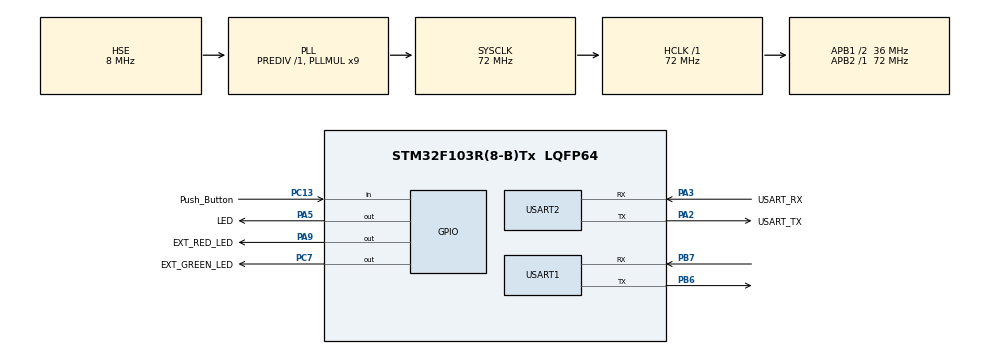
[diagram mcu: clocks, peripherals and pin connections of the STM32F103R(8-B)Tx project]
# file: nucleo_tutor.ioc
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Mcu.Family=STM32F1
Mcu.Name=STM32F103R(8-B)Tx
Mcu.Package=LQFP64
NVIC.PriorityGroup=NVIC_PRIORITYGROUP_4
NVIC.TIM1_UP_IRQn=true\:0\:0\:false\:false\:true\:true\:true\:true
NVIC.USART1_IRQn=true\:0\:0\:false\:false\:true\:true\:true\:true
NVIC.USART2_IRQn=true\:0\:0\:false\:false\:true\:true\:true\:true
PA13.GPIO_Label=TMS
PA13.Mode=Serial_Wire
PA13.Signal=SYS_JTMS-SWDIO
PA14.GPIO_Label=TCK
PA14.Mode=Serial_Wire
PA14.Signal=SYS_JTCK-SWCLK
PA2.GPIO_Label=USART_TX
PA2.GPIO_Mode=GPIO_MODE_AF_PP
PA2.GPIO_PuPd=GPIO_NOPULL
PA2.GPIO_Speed=GPIO_SPEED_FREQ_LOW
PA2.Mode=Asynchronous
PA2.Signal=USART2_TX
PA3.GPIO_Label=USART_RX
PA3.GPIO_Mode=GPIO_MODE_AF_PP
PA3.GPIO_PuPd=GPIO_NOPULL
PA3.GPIO_Speed=GPIO_SPEED_FREQ_LOW
PA3.Mode=Asynchronous
PA3.Signal=USART2_RX
PA5.GPIO_Label=LED
PA5.GPIO_ModeDefaultOutputPP=GPIO_MODE_OUTPUT_PP
PA5.GPIO_PuPd=GPIO_NOPULL
PA5.GPIO_Speed=GPIO_SPEED_FREQ_LOW
PA5.Signal=GPIO_Output
PA9.GPIO_Label=EXT_RED_LED
PA9.Signal=GPIO_Output
PB3.GPIO_Label=SWO
PB3.Signal=SYS_JTDO-TRACESWO
PB6.Mode=Asynchronous
PB6.Signal=USART1_TX
PB7.Mode=Asynchronous
PB7.Signal=USART1_RX
PC13-TAMPER-RTC.GPIO_Label=Push_Button
PC13-TAMPER-RTC.Signal=GPIO_Input
PC14-OSC32_IN.Signal=RCC_OSC32_IN
PC15-OSC32_OUT.Signal=RCC_OSC32_OUT
PC7.GPIO_Label=EXT_GREEN_LED
PC7.Signal=GPIO_Output
PD0-OSC_IN.Mode=HSE-External-Oscillator
PD0-OSC_IN.Signal=RCC_OSC_IN
PD1-OSC_OUT.Mode=HSE-External-Oscillator
PD1-OSC_OUT.Signal=RCC_OSC_OUT
ProjectManager.HeapSize=0x200
ProjectManager.StackSize=0x400
ProjectManager.TargetToolchain=STM32CubeIDE
RCC.AHBFreq_Value=72000000
RCC.APB1CLKDivider=RCC_HCLK_DIV2
RCC.APB1Freq_Value=36000000
RCC.APB1TimFreq_Value=72000000
RCC.APB2Freq_Value=72000000
RCC.APB2TimFreq_Value=72000000
RCC.HCLKFreq_Value=72000000
RCC.PLLMUL=RCC_PLL_MUL9
RCC.PLLSourceVirtual=RCC_PLLSOURCE_HSE
RCC.RTCClockSelection=RCC_RTCCLKSOURCE_LSE
RCC.SYSCLKFreq_VALUE=72000000
RCC.SYSCLKSource=RCC_SYSCLKSOURCE_PLLCLK
RCC.USBFreq_Value=72000000
USART1.VirtualMode=VM_ASYNC
USART2.VirtualMode=VM_ASYNC
VP_TIM1_VS_ClockSourceINT.Mode=Internal
board=NUCLEO-F103RB

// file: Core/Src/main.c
/* USER CODE BEGIN Header */
/**
  ******************************************************************************
  * @file           : main.c
  * @brief          : Main program body
  ******************************************************************************
  * @attention
  *
  * Copyright (c) 2024 STMicroelectronics.
  * All rights reserved.
  *
  * This software is licensed under terms that can be found in the LICENSE file
  * in the root directory of this software component.
  * If no LICENSE file comes with this software, it is provided AS-IS.
  *
  ******************************************************************************
  */
/* USER CODE END Header */
#include "main.h"

/* USER CODE BEGIN Includes */
#include <stdio.h>
/* USER CODE END Includes */

TIM_HandleTypeDef htim1;

UART_HandleTypeDef huart1;
UART_HandleTypeDef huart2;

void SystemClock_Config(void);
static void MX_GPIO_Init(void);
static void MX_USART2_UART_Init(void);
static void MX_TIM1_Init(void);
static void MX_USART1_UART_Init(void);
/* USER CODE BEGIN PFP */
void sleep_ms(uint32_t ms);
void sleep_us(uint32_t us);
/* USER CODE END PFP */

/* USER CODE BEGIN 0 */
#ifdef __GNUC__
  #define PUTCHAR_PROTOTYPE int __io_putchar(int ch)
#else
  #define PUTCHAR_PROTOTYPE int fputc(int ch, FILE *f)
#endif

PUTCHAR_PROTOTYPE
{
  HAL_UART_Transmit(&huart1, (uint8_t *)&ch, 1, HAL_MAX_DELAY);
  return ch;
}
/* USER CODE END 0 */

int main(void)
{

  /* MCU Configuration--------------------------------------------------------*/

  /* Reset of all peripherals, Initializes the Flash interface and the Systick. */
  HAL_Init();

  /* Configure the system clock */
  SystemClock_Config();

  /* Initialize all configured peripherals */
  MX_GPIO_Init();
  MX_USART2_UART_Init();
  MX_TIM1_Init();
  MX_USART1_UART_Init();

  /* Infinite loop */
  /* USER CODE BEGIN WHILE */
  printf("Characters: %c %c\r\n", 'a', 65);
  printf("Decimals: %d %ld\r\n", 1977, 650000L);
  printf("Preceding with blanks: %10d\r\n", 1977);
  printf("Preceding with zeros: %010d\r\n", 1977);
  printf("Some different radices: %d %x %o %#x %#o\r\n", 100, 100, 100, 100, 100);
  printf("floats: %4.2f %+.0e %E\r\n", 3.1416, 3.1416, 3.1416);
  printf("Width trick: %*d\r\n", 5, 10);
  printf("%s\r\n", "A string");
  while (1)
  {
//    HAL_GPIO_WritePin(LED_GPIO_Port, LED_Pin, GPIO_PIN_SET);
//    HAL_Delay(1000);
//    HAL_GPIO_WritePin(LED_GPIO_Port, LED_Pin, GPIO_PIN_RESET);
//    HAL_GPIO_WritePin(EXT_GREEN_LED_GPIO_Port, EXT_GREEN_LED_Pin, GPIO_PIN_SET);
//    HAL_Delay(1000);
//    HAL_GPIO_WritePin(EXT_GREEN_LED_GPIO_Port, EXT_GREEN_LED_Pin, GPIO_PIN_RESET);
//    HAL_GPIO_WritePin(EXT_RED_LED_GPIO_Port, EXT_RED_LED_Pin, GPIO_PIN_SET);
//    HAL_Delay(1000);
//    HAL_GPIO_WritePin(EXT_RED_LED_GPIO_Port, EXT_RED_LED_Pin, GPIO_PIN_RESET);

    /* USER CODE END WHILE */

  }
}

void SystemClock_Config(void)
{
  RCC_OscInitTypeDef RCC_OscInitStruct = {0};
  RCC_ClkInitTypeDef RCC_ClkInitStruct = {0};

  /** Initializes the RCC Oscillators according to the specified parameters
  * in the RCC_OscInitTypeDef structure.
  */
  RCC_OscInitStruct.OscillatorType = RCC_OSCILLATORTYPE_HSE;
  RCC_OscInitStruct.HSEState = RCC_HSE_ON;
  RCC_OscInitStruct.HSEPredivValue = RCC_HSE_PREDIV_DIV1;
  RCC_OscInitStruct.HSIState = RCC_HSI_ON;
  RCC_OscInitStruct.PLL.PLLState = RCC_PLL_ON;
  RCC_OscInitStruct.PLL.PLLSource = RCC_PLLSOURCE_HSE;
  RCC_OscInitStruct.PLL.PLLMUL = RCC_PLL_MUL9;
  if (HAL_RCC_OscConfig(&RCC_OscInitStruct) != HAL_OK)
  {
    Error_Handler();
  }

  /** Initializes the CPU, AHB and APB buses clocks
  */
  RCC_ClkInitStruct.ClockType = RCC_CLOCKTYPE_HCLK|RCC_CLOCKTYPE_SYSCLK
                              |RCC_CLOCKTYPE_PCLK1|RCC_CLOCKTYPE_PCLK2;
  RCC_ClkInitStruct.SYSCLKSource = RCC_SYSCLKSOURCE_PLLCLK;
  RCC_ClkInitStruct.AHBCLKDivider = RCC_SYSCLK_DIV1;
  RCC_ClkInitStruct.APB1CLKDivider = RCC_HCLK_DIV2;
  RCC_ClkInitStruct.APB2CLKDivider = RCC_HCLK_DIV1;

  if (HAL_RCC_ClockConfig(&RCC_ClkInitStruct, FLASH_LATENCY_2) != HAL_OK)
  {
    Error_Handler();
  }
}

static void MX_TIM1_Init(void)
{

  TIM_ClockConfigTypeDef sClockSourceConfig = {0};
  TIM_MasterConfigTypeDef sMasterConfig = {0};

  htim1.Instance = TIM1;
  htim1.Init.Prescaler = 0;
  htim1.Init.CounterMode = TIM_COUNTERMODE_UP;
  htim1.Init.Period = 65535;
  htim1.Init.ClockDivision = TIM_CLOCKDIVISION_DIV1;
  htim1.Init.RepetitionCounter = 0;
  htim1.Init.AutoReloadPreload = TIM_AUTORELOAD_PRELOAD_DISABLE;
  if (HAL_TIM_Base_Init(&htim1) != HAL_OK)
  {
    Error_Handler();
  }
  sClockSourceConfig.ClockSource = TIM_CLOCKSOURCE_INTERNAL;
  if (HAL_TIM_ConfigClockSource(&htim1, &sClockSourceConfig) != HAL_OK)
  {
    Error_Handler();
  }
  sMasterConfig.MasterOutputTrigger = TIM_TRGO_RESET;
  sMasterConfig.MasterSlaveMode = TIM_MASTERSLAVEMODE_DISABLE;
  if (HAL_TIMEx_MasterConfigSynchronization(&htim1, &sMasterConfig) != HAL_OK)
  {
    Error_Handler();
  }

}

static void MX_USART1_UART_Init(void)
{

  huart1.Instance = USART1;
  huart1.Init.BaudRate = 115200;
  huart1.Init.WordLength = UART_WORDLENGTH_8B;
  huart1.Init.StopBits = UART_STOPBITS_1;
  huart1.Init.Parity = UART_PARITY_NONE;
  huart1.Init.Mode = UART_MODE_TX_RX;
  huart1.Init.HwFlowCtl = UART_HWCONTROL_NONE;
  huart1.Init.OverSampling = UART_OVERSAMPLING_16;
  if (HAL_UART_Init(&huart1) != HAL_OK)
  {
    Error_Handler();
  }

}

static void MX_USART2_UART_Init(void)
{

  huart2.Instance = USART2;
  huart2.Init.BaudRate = 115200;
  huart2.Init.WordLength = UART_WORDLENGTH_8B;
  huart2.Init.StopBits = UART_STOPBITS_1;
  huart2.Init.Parity = UART_PARITY_NONE;
  huart2.Init.Mode = UART_MODE_TX_RX;
  huart2.Init.HwFlowCtl = UART_HWCONTROL_NONE;
  huart2.Init.OverSampling = UART_OVERSAMPLING_16;
  if (HAL_UART_Init(&huart2) != HAL_OK)
  {
    Error_Handler();
  }

}

static void MX_GPIO_Init(void)
{
  GPIO_InitTypeDef GPIO_InitStruct = {0};

  /* GPIO Ports Clock Enable */
  __HAL_RCC_GPIOC_CLK_ENABLE();
  __HAL_RCC_GPIOD_CLK_ENABLE();
  __HAL_RCC_GPIOA_CLK_ENABLE();
  __HAL_RCC_GPIOB_CLK_ENABLE();

  /*Configure GPIO pin Output Level */
  HAL_GPIO_WritePin(GPIOA, LED_Pin|EXT_RED_LED_Pin, GPIO_PIN_RESET);

  /*Configure GPIO pin Output Level */
  HAL_GPIO_WritePin(EXT_GREEN_LED_GPIO_Port, EXT_GREEN_LED_Pin, GPIO_PIN_RESET);

  /*Configure GPIO pin : Push_Button_Pin */
  GPIO_InitStruct.Pin = Push_Button_Pin;
  GPIO_InitStruct.Mode = GPIO_MODE_INPUT;
  GPIO_InitStruct.Pull = GPIO_NOPULL;
  HAL_GPIO_Init(Push_Button_GPIO_Port, &GPIO_InitStruct);

  /*Configure GPIO pins : LED_Pin EXT_RED_LED_Pin */
  GPIO_InitStruct.Pin = LED_Pin|EXT_RED_LED_Pin;
  GPIO_InitStruct.Mode = GPIO_MODE_OUTPUT_PP;
  GPIO_InitStruct.Pull = GPIO_NOPULL;
  GPIO_InitStruct.Speed = GPIO_SPEED_FREQ_LOW;
  HAL_GPIO_Init(GPIOA, &GPIO_InitStruct);

  /*Configure GPIO pin : EXT_GREEN_LED_Pin */
  GPIO_InitStruct.Pin = EXT_GREEN_LED_Pin;
  GPIO_InitStruct.Mode = GPIO_MODE_OUTPUT_PP;
  GPIO_InitStruct.Pull = GPIO_NOPULL;
  GPIO_InitStruct.Speed = GPIO_SPEED_FREQ_LOW;
  HAL_GPIO_Init(EXT_GREEN_LED_GPIO_Port, &GPIO_InitStruct);

}

/* USER CODE BEGIN 4 */
void sleep_ms(uint32_t ms)
{
  volatile uint32_t i;
  for (i = ms; i != 0; i--)
  {
    sleep_us(1000);
  }
}

void sleep_us(uint32_t us)
{
  volatile uint32_t i;
  for (i = ((SystemCoreClock / 8000000) * us); i != 0; i--) {}
}

/* USER CODE END 4 */

void Error_Handler(void)
{
  __disable_irq();
  while (1)
  {
  }
}
